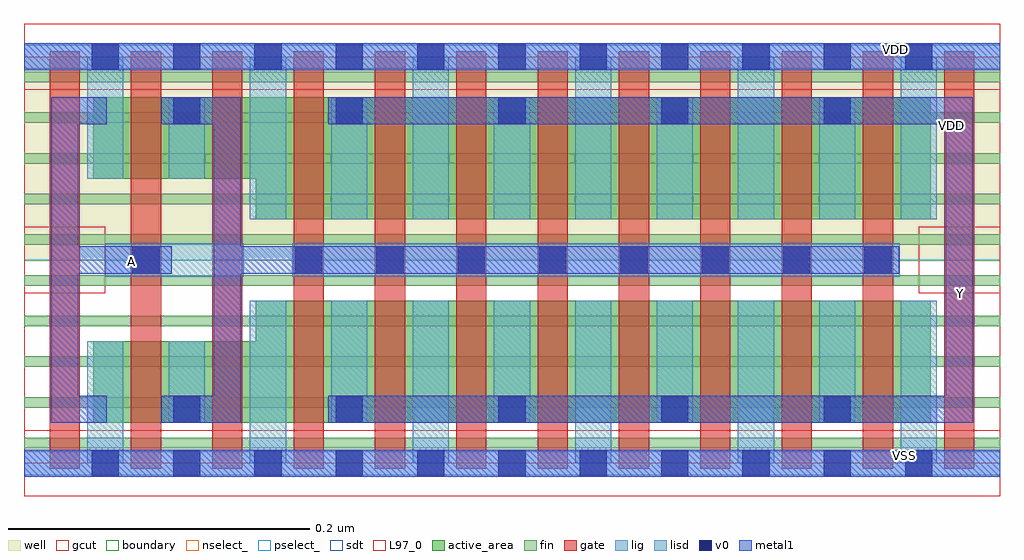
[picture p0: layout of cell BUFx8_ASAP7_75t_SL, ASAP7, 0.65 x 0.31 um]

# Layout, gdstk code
import gdstk
lib = gdstk.Library(unit=1e-6, precision=2.5e-10)
def R(c, l, rs):  # rectangles x0, y0, x1, y1
    for r in rs: c.add(gdstk.rectangle(r[:2], r[2:], *l))
def A(c, l, x, y, w, h, nx, ny, dx, dy):  # array of equal rectangles
    R(c, l, [(x+i*dx, y+j*dy, x+i*dx+w, y+j*dy+h) for i in range(nx) for j in range(ny)])
def P(c, l, *ps):  # polygons
    for p in ps: c.add(gdstk.Polygon(p, *l))
well = (1, 0)
fin = (2, 0)
gate = (7, 0)
gcut = (10, 0)
active_area = (11, 0)
nselect_ = (12, 0)
pselect_ = (13, 0)
lig = (16, 0)
lisd = (17, 0)
v0 = (18, 0)
metal1 = (19, 0)
sdt = (88, 0)
L97_0 = (97, 0)
boundary = (100, 0)

bufx8_asap7_75t_sl = lib.new_cell('BUFx8_ASAP7_75t_SL')
R(bufx8_asap7_75t_sl, well, [(0,0.135,0.648,0.27)])
A(bufx8_asap7_75t_sl, fin, 0, 0.01, 0.648, 0.007, 1, 10, 0, 0.027)
A(bufx8_asap7_75t_sl, gate, 0.017, -0.0035, 0.02, 0.277, 12, 1, 0.054, 0)
R(bufx8_asap7_75t_sl, gcut, [(0,-0.022,0.648,0.022), (0,0.113,0.054,0.157), (0.594,0.113,0.648,0.157), (0,0.248,0.648,0.292)])
P(bufx8_asap7_75t_sl, active_area, [(0.602,0.108),(0.154,0.108),(0.154,0.081),(0.046,0.081),(0.046,0.027),(0.602,0.027)],
  [(0.602,0.243),(0.046,0.243),(0.046,0.189),(0.154,0.189),(0.154,0.162),(0.602,0.162)])
R(bufx8_asap7_75t_sl, nselect_, [(0,0,0.648,0.135)])
R(bufx8_asap7_75t_sl, pselect_, [(0,0.135,0.648,0.27)])
R(bufx8_asap7_75t_sl, lig, [(0,-0.008,0.648,0.008), (0.054,0.124,0.146,0.146), (0.178,0.124,0.5815,0.146), (0,0.262,0.648,0.278)])
A(bufx8_asap7_75t_sl, lisd, 0.15, 0, 0.024, 0.108, 5, 2, 0.108, 0.162)
A(bufx8_asap7_75t_sl, lisd, 0.204, 0.027, 0.024, 0.081, 4, 2, 0.108, 0.135)
R(bufx8_asap7_75t_sl, lisd, [(0.042,0,0.066,0.081), (0.096,0.027,0.12,0.081), (0.042,0.189,0.066,0.27), (0.096,0.189,0.12,0.243)])
A(bufx8_asap7_75t_sl, v0, 0.045, -0.009, 0.018, 0.018, 11, 2, 0.054, 0.27)
A(bufx8_asap7_75t_sl, v0, 0.099, 0.027, 0.018, 0.018, 5, 2, 0.108, 0.198)
A(bufx8_asap7_75t_sl, v0, 0.18, 0.126, 0.018, 0.018, 8, 1, 0.054, 0)
R(bufx8_asap7_75t_sl, v0, [(0.072,0.126,0.09,0.144)])
R(bufx8_asap7_75t_sl, metal1, [(0,-0.009,0.648,0.009), (0,0.261,0.648,0.279)])
P(bufx8_asap7_75t_sl, metal1, [(0.63,0.243),(0.202,0.243),(0.202,0.225),(0.612,0.225),(0.612,0.045),(0.202,0.045),(0.202,0.027),(0.63,0.027)],
  [(0.581,0.144),(0.144,0.144),(0.144,0.243),(0.091,0.243),(0.091,0.225),(0.126,0.225),(0.126,0.045),(0.091,0.045),(0.091,0.027),(0.144,0.027),(0.144,0.126),(0.581,0.126)],
  [(0.098,0.144),(0.036,0.144),(0.036,0.225),(0.055,0.225),(0.055,0.243),(0.018,0.243),(0.018,0.027),(0.055,0.027),(0.055,0.045),(0.036,0.045),(0.036,0.126),(0.098,0.126)])
A(bufx8_asap7_75t_sl, sdt, 0.15, 0.027, 0.024, 0.081, 9, 2, 0.054, 0.135)
R(bufx8_asap7_75t_sl, sdt, [(0.042,0.027,0.066,0.081), (0.096,0.027,0.12,0.081), (0.042,0.189,0.066,0.243), (0.096,0.189,0.12,0.243)])
R(bufx8_asap7_75t_sl, L97_0, [(0,0,0.648,0.27)])
R(bufx8_asap7_75t_sl, boundary, [(0,0,0.648,0.27)])
bufx8_asap7_75t_sl.add(gdstk.Label('Y', (0.6215,0.113), layer=19, texttype=251))
bufx8_asap7_75t_sl.add(gdstk.Label('A', (0.0715,0.134), layer=19, texttype=251))
bufx8_asap7_75t_sl.add(gdstk.Label('VSS', (0.5845,0.005), layer=19, texttype=251))
bufx8_asap7_75t_sl.add(gdstk.Label('VDD', (0.5785,0.2745), layer=19, texttype=251))
bufx8_asap7_75t_sl.add(gdstk.Label('VDD', (0.616,0.224), layer=1, texttype=251))
bufx8_asap7_75t_sl.add(gdstk.Label('VSS', (0.685,0.223), layer=3, texttype=251))

lib.write_gds('BUFx8_ASAP7_75t_SL.gds')
